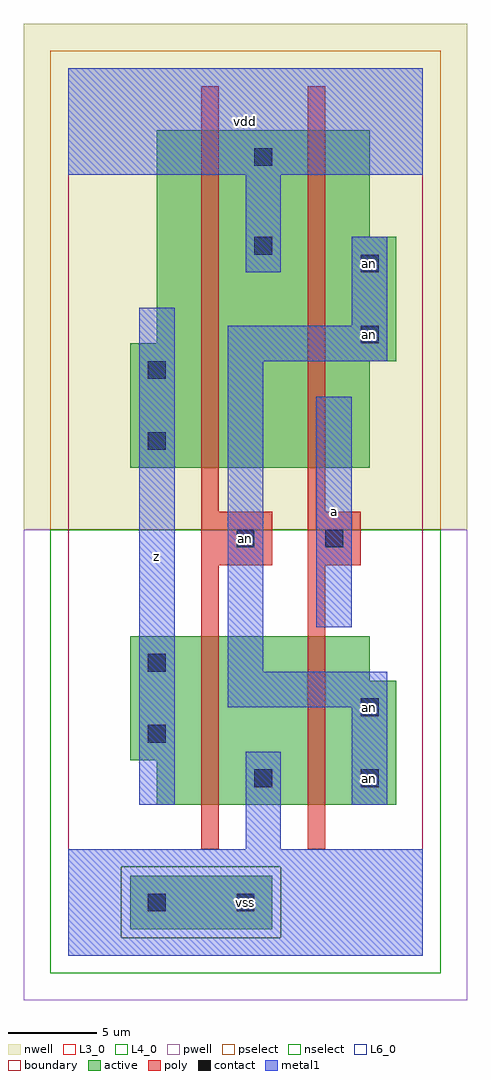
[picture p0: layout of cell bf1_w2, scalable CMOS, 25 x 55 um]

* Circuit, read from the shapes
.subckt bf1_w2 a an vdd vss z
M1 vss an z vss nfet w=9.5u l=1u
M2 an a vss vss nfet w=9.5u l=1u
M3 vdd an z n1 pfet w=19u l=1u
M4 an a vdd n1 pfet w=19u l=1u
.ends

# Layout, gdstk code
import gdstk
lib = gdstk.Library(unit=1e-6, precision=1e-09)
def R(c, l, rs):  # rectangles x0, y0, x1, y1
    for r in rs: c.add(gdstk.rectangle(r[:2], r[2:], *l))
L3_0 = (3, 0)
L4_0 = (4, 0)
L6_0 = (6, 0)
contact = (25, 0)
pwell = (41, 0)
nwell = (42, 0)
active = (43, 0)
pselect = (44, 0)
nselect = (45, 0)
poly = (46, 0)
metal1 = (49, 0)
boundary = (63, 0)

bf1_w2 = lib.new_cell('bf1_w2')
R(bf1_w2, L3_0, [(5,8.5,18.5,11), (3.5,11,18.5,15.5), (3.5,15.5,17,18)])
R(bf1_w2, L4_0, [(3.5,27.5,17,33.5), (3.5,33.5,18.5,34.5), (5,34.5,18.5,40.5), (5,40.5,17,46.5)])
R(bf1_w2, L6_0, [(3.5,1.5,11.5,4.5)])
R(bf1_w2, contact, [(4.5,2.5,5.5,3.5), (9.5,2.5,10.5,3.5), (10.5,9.5,11.5,10.5), (16.5,9.5,17.5,10.5), (4.5,12,5.5,13), (16.5,13.5,17.5,14.5), (4.5,16,5.5,17), (9.5,23,10.5,24), (14.5,23,15.5,24), (4.5,28.5,5.5,29.5), (4.5,32.5,5.5,33.5), (16.5,34.5,17.5,35.5), (16.5,38.5,17.5,39.5), (10.5,39.5,11.5,40.5), (10.5,44.5,11.5,45.5)])
R(bf1_w2, pwell, [(-2.5,-2.5,22.5,24)])
R(bf1_w2, nwell, [(-2.5,24,22.5,52.5)])
R(bf1_w2, active, [(3.5,1.5,11.5,4.5), (5,8.5,18.5,11), (3.5,11,18.5,15.5), (3.5,15.5,17,18), (3.5,27.5,17,33.5), (3.5,33.5,18.5,34.5), (5,34.5,18.5,40.5), (5,40.5,17,46.5)])
R(bf1_w2, pselect, [(3,1,12,5), (-1,24,21,51)])
R(bf1_w2, nselect, [(-1,-1,21,1), (-1,1,3,5), (12,1,21,5), (-1,5,21,24)])
R(bf1_w2, poly, [(7.5,6,8.5,22), (13.5,6,14.5,22), (7.5,22,11.5,25), (13.5,22,16.5,25), (7.5,25,8.5,49), (13.5,25,14.5,49)])
R(bf1_w2, metal1, [(0,0,20,6), (0,0,20,6), (10,6,12,11.5), (10,6,12,11.5), (4,8.5,6,36.5), (4,8.5,6,36.5), (16,8.5,18,14), (16,8.5,18,14), (9,14,18,16), (9,14,18,16), (9,16,11,33.5), (9,16,11,33.5), (14,18.5,16,31.5), (14,18.5,16,31.5), (9,33.5,18,35.5), (9,33.5,18,35.5), (16,35.5,18,40.5), (16,35.5,18,40.5), (10,38.5,12,44), (10,38.5,12,44), (0,44,20,50), (0,44,20,50)])
R(bf1_w2, boundary, [(0,0,20,50)])
bf1_w2.add(gdstk.Label('an', (10,23.5), layer=49, texttype=0))
bf1_w2.add(gdstk.Label('an', (17,10), layer=49, texttype=0))
bf1_w2.add(gdstk.Label('an', (17,14), layer=49, texttype=0))
bf1_w2.add(gdstk.Label('an', (17,39), layer=49, texttype=0))
bf1_w2.add(gdstk.Label('an', (17,35), layer=49, texttype=0))
bf1_w2.add(gdstk.Label('vss', (10,3), layer=49, texttype=0))
bf1_w2.add(gdstk.Label('z', (5,22.5), layer=49, texttype=0))
bf1_w2.add(gdstk.Label('vdd', (10,47), layer=49, texttype=0))
bf1_w2.add(gdstk.Label('a', (15,25), layer=49, texttype=0))

lib.write_gds('bf1_w2.gds')
